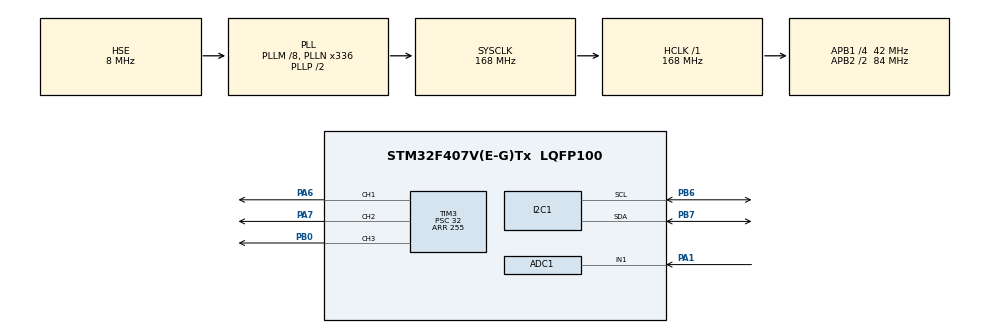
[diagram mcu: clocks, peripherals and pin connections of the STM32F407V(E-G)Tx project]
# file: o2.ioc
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ADC1.Channel-1\#ChannelRegularConversion=ADC_CHANNEL_1
ADC1.ClockPrescaler=ADC_CLOCK_SYNC_PCLK_DIV8
ADC1.ContinuousConvMode=ENABLE
ADC1.NbrOfConversionFlag=1
ADC1.Rank-1\#ChannelRegularConversion=1
ADC1.SamplingTime-1\#ChannelRegularConversion=ADC_SAMPLETIME_56CYCLES
ADC1.master=1
Mcu.Family=STM32F4
Mcu.Name=STM32F407V(E-G)Tx
Mcu.Package=LQFP100
NVIC.PriorityGroup=NVIC_PRIORITYGROUP_0
PA1.Signal=ADCx_IN1
PA6.Signal=S_TIM3_CH1
PA7.Signal=S_TIM3_CH2
PB0.Signal=S_TIM3_CH3
PB6.Mode=I2C
PB6.Signal=I2C1_SCL
PB7.Mode=I2C
PB7.Signal=I2C1_SDA
PH0-OSC_IN.Mode=HSE-External-Oscillator
PH0-OSC_IN.Signal=RCC_OSC_IN
PH1-OSC_OUT.Mode=HSE-External-Oscillator
PH1-OSC_OUT.Signal=RCC_OSC_OUT
ProjectManager.HeapSize=0x200
ProjectManager.StackSize=0x400
ProjectManager.TargetToolchain=MDK-ARM V5.32
RCC.48MHZClocksFreq_Value=48000000
RCC.AHBFreq_Value=168000000
RCC.APB1CLKDivider=RCC_HCLK_DIV4
RCC.APB1Freq_Value=42000000
RCC.APB1TimFreq_Value=84000000
RCC.APB2CLKDivider=RCC_HCLK_DIV2
RCC.APB2Freq_Value=84000000
RCC.APB2TimFreq_Value=168000000
RCC.CortexFreq_Value=168000000
RCC.HCLKFreq_Value=168000000
RCC.HSE_VALUE=8000000
RCC.HSI_VALUE=16000000
RCC.PLLM=8
RCC.PLLN=336
RCC.PLLQ=7
RCC.PLLSourceVirtual=RCC_PLLSOURCE_HSE
RCC.SYSCLKFreq_VALUE=168000000
RCC.SYSCLKSource=RCC_SYSCLKSOURCE_PLLCLK
RCC.VCOOutputFreq_Value=336000000
SH.ADCx_IN1.0=ADC1_IN1,IN1
SH.S_TIM3_CH1.0=TIM3_CH1,PWM Generation1 CH1
SH.S_TIM3_CH2.0=TIM3_CH2,PWM Generation2 CH2
SH.S_TIM3_CH3.0=TIM3_CH3,PWM Generation3 CH3
TIM3.Channel-PWM\ Generation1\ CH1=TIM_CHANNEL_1
TIM3.Channel-PWM\ Generation2\ CH2=TIM_CHANNEL_2
TIM3.Channel-PWM\ Generation3\ CH3=TIM_CHANNEL_3
TIM3.Period=255
TIM3.Prescaler=32
VP_TIM3_VS_ClockSourceINT.Mode=Internal
board=STM32F407G-DISC1

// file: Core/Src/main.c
/* USER CODE BEGIN Header */
/**
  ******************************************************************************
  * @file           : main.c
  * @brief          : Main program body
  ******************************************************************************
  * @attention
  *
  * Copyright (c) 2022 STMicroelectronics.
  * All rights reserved.
  *
  * This software is licensed under terms that can be found in the LICENSE file
  * in the root directory of this software component.
  * If no LICENSE file comes with this software, it is provided AS-IS.
  *
  ******************************************************************************
  */
/* USER CODE END Header */
#include "main.h"
#include "fonts.h"
#include "ssd1306.h"
#include <stdio.h>
#include <string.h>

int oku;

ADC_HandleTypeDef hadc1;

I2C_HandleTypeDef hi2c1;

TIM_HandleTypeDef htim3;

void SystemClock_Config(void);
static void MX_GPIO_Init(void);
static void MX_ADC1_Init(void);
static void MX_I2C1_Init(void);
static void MX_TIM3_Init(void);

int main(void)
{

  /* MCU Configuration--------------------------------------------------------*/

  /* Reset of all peripherals, Initializes the Flash interface and the Systick. */
  HAL_Init();

  /* Configure the system clock */
  SystemClock_Config();

  /* Initialize all configured peripherals */
  MX_GPIO_Init();
  MX_ADC1_Init();
  MX_I2C1_Init();
  MX_TIM3_Init();
  /* USER CODE BEGIN 2 */

ssd1306_Init();
HAL_Delay(100);

HAL_TIM_PWM_Start(&htim3,TIM_CHANNEL_1);
HAL_TIM_PWM_Start(&htim3,TIM_CHANNEL_2);
HAL_TIM_PWM_Start(&htim3,TIM_CHANNEL_3);

int i;
  /* USER CODE END 2 */
ssd1306_Fill(Black);
ssd1306_SetCursor(0,0);

ssd1306_WriteString("hos geldiniz",Font_7x10,White);
ssd1306_UpdateScreen();
HAL_Delay(2000);
  /* Infinite loop */
  /* USER CODE BEGIN WHILE */
  while (1)
  {
		HAL_ADC_Start(&hadc1);
		oku=HAL_ADC_GetValue(&hadc1);
		float a=0;
		a= oku;
		char yaz [4];
		sprintf (yaz, "adc degeri=% 4f", a);
		ssd1306_SetCursor(0,10);
    ssd1306_WriteString (yaz,Font_7x10,White);
    ssd1306_UpdateScreen();
		HAL_Delay(2000);
		if (oku>2048)
		{

		ssd1306_Fill(Black);
    ssd1306_SetCursor(0,0);
    ssd1306_WriteString("kapi aciktir",Font_7x10,White);
    ssd1306_UpdateScreen();
		TIM3->CCR1=0;
		TIM3->CCR3=0;

	   	for(i=0;i<=255;i++){
			TIM3->CCR2=i;
			HAL_Delay(10);
			}

		}

		else
		{

		ssd1306_Fill(Black);
    ssd1306_SetCursor(0,0);
    ssd1306_WriteString("kapi kapalidir",Font_7x10,White);
    ssd1306_UpdateScreen();
		TIM3->CCR1=255;
		TIM3->CCR2=0;
		TIM3->CCR3=0;

		}

    /* USER CODE END WHILE */

  }
}

void SystemClock_Config(void)
{
  RCC_OscInitTypeDef RCC_OscInitStruct = {0};
  RCC_ClkInitTypeDef RCC_ClkInitStruct = {0};

  /** Configure the main internal regulator output voltage
  */
  __HAL_RCC_PWR_CLK_ENABLE();
  __HAL_PWR_VOLTAGESCALING_CONFIG(PWR_REGULATOR_VOLTAGE_SCALE1);
  /** Initializes the RCC Oscillators according to the specified parameters
  * in the RCC_OscInitTypeDef structure.
  */
  RCC_OscInitStruct.OscillatorType = RCC_OSCILLATORTYPE_HSE;
  RCC_OscInitStruct.HSEState = RCC_HSE_ON;
  RCC_OscInitStruct.PLL.PLLState = RCC_PLL_ON;
  RCC_OscInitStruct.PLL.PLLSource = RCC_PLLSOURCE_HSE;
  RCC_OscInitStruct.PLL.PLLM = 8;
  RCC_OscInitStruct.PLL.PLLN = 336;
  RCC_OscInitStruct.PLL.PLLP = RCC_PLLP_DIV2;
  RCC_OscInitStruct.PLL.PLLQ = 7;
  if (HAL_RCC_OscConfig(&RCC_OscInitStruct) != HAL_OK)
  {
    Error_Handler();
  }
  /** Initializes the CPU, AHB and APB buses clocks
  */
  RCC_ClkInitStruct.ClockType = RCC_CLOCKTYPE_HCLK|RCC_CLOCKTYPE_SYSCLK
                              |RCC_CLOCKTYPE_PCLK1|RCC_CLOCKTYPE_PCLK2;
  RCC_ClkInitStruct.SYSCLKSource = RCC_SYSCLKSOURCE_PLLCLK;
  RCC_ClkInitStruct.AHBCLKDivider = RCC_SYSCLK_DIV1;
  RCC_ClkInitStruct.APB1CLKDivider = RCC_HCLK_DIV4;
  RCC_ClkInitStruct.APB2CLKDivider = RCC_HCLK_DIV2;

  if (HAL_RCC_ClockConfig(&RCC_ClkInitStruct, FLASH_LATENCY_5) != HAL_OK)
  {
    Error_Handler();
  }
}

static void MX_ADC1_Init(void)
{

  ADC_ChannelConfTypeDef sConfig = {0};

  /** Configure the global features of the ADC (Clock, Resolution, Data Alignment and number of conversion)
  */
  hadc1.Instance = ADC1;
  hadc1.Init.ClockPrescaler = ADC_CLOCK_SYNC_PCLK_DIV8;
  hadc1.Init.Resolution = ADC_RESOLUTION_12B;
  hadc1.Init.ScanConvMode = DISABLE;
  hadc1.Init.ContinuousConvMode = ENABLE;
  hadc1.Init.DiscontinuousConvMode = DISABLE;
  hadc1.Init.ExternalTrigConvEdge = ADC_EXTERNALTRIGCONVEDGE_NONE;
  hadc1.Init.ExternalTrigConv = ADC_SOFTWARE_START;
  hadc1.Init.DataAlign = ADC_DATAALIGN_RIGHT;
  hadc1.Init.NbrOfConversion = 1;
  hadc1.Init.DMAContinuousRequests = DISABLE;
  hadc1.Init.EOCSelection = ADC_EOC_SINGLE_CONV;
  if (HAL_ADC_Init(&hadc1) != HAL_OK)
  {
    Error_Handler();
  }
  /** Configure for the selected ADC regular channel its corresponding rank in the sequencer and its sample time.
  */
  sConfig.Channel = ADC_CHANNEL_1;
  sConfig.Rank = 1;
  sConfig.SamplingTime = ADC_SAMPLETIME_56CYCLES;
  if (HAL_ADC_ConfigChannel(&hadc1, &sConfig) != HAL_OK)
  {
    Error_Handler();
  }

}

static void MX_I2C1_Init(void)
{

  hi2c1.Instance = I2C1;
  hi2c1.Init.ClockSpeed = 100000;
  hi2c1.Init.DutyCycle = I2C_DUTYCYCLE_2;
  hi2c1.Init.OwnAddress1 = 0;
  hi2c1.Init.AddressingMode = I2C_ADDRESSINGMODE_7BIT;
  hi2c1.Init.DualAddressMode = I2C_DUALADDRESS_DISABLE;
  hi2c1.Init.OwnAddress2 = 0;
  hi2c1.Init.GeneralCallMode = I2C_GENERALCALL_DISABLE;
  hi2c1.Init.NoStretchMode = I2C_NOSTRETCH_DISABLE;
  if (HAL_I2C_Init(&hi2c1) != HAL_OK)
  {
    Error_Handler();
  }

}

static void MX_TIM3_Init(void)
{

  TIM_ClockConfigTypeDef sClockSourceConfig = {0};
  TIM_MasterConfigTypeDef sMasterConfig = {0};
  TIM_OC_InitTypeDef sConfigOC = {0};

  htim3.Instance = TIM3;
  htim3.Init.Prescaler = 32;
  htim3.Init.CounterMode = TIM_COUNTERMODE_UP;
  htim3.Init.Period = 255;
  htim3.Init.ClockDivision = TIM_CLOCKDIVISION_DIV1;
  htim3.Init.AutoReloadPreload = TIM_AUTORELOAD_PRELOAD_DISABLE;
  if (HAL_TIM_Base_Init(&htim3) != HAL_OK)
  {
    Error_Handler();
  }
  sClockSourceConfig.ClockSource = TIM_CLOCKSOURCE_INTERNAL;
  if (HAL_TIM_ConfigClockSource(&htim3, &sClockSourceConfig) != HAL_OK)
  {
    Error_Handler();
  }
  if (HAL_TIM_PWM_Init(&htim3) != HAL_OK)
  {
    Error_Handler();
  }
  sMasterConfig.MasterOutputTrigger = TIM_TRGO_RESET;
  sMasterConfig.MasterSlaveMode = TIM_MASTERSLAVEMODE_DISABLE;
  if (HAL_TIMEx_MasterConfigSynchronization(&htim3, &sMasterConfig) != HAL_OK)
  {
    Error_Handler();
  }
  sConfigOC.OCMode = TIM_OCMODE_PWM1;
  sConfigOC.Pulse = 0;
  sConfigOC.OCPolarity = TIM_OCPOLARITY_HIGH;
  sConfigOC.OCFastMode = TIM_OCFAST_DISABLE;
  if (HAL_TIM_PWM_ConfigChannel(&htim3, &sConfigOC, TIM_CHANNEL_1) != HAL_OK)
  {
    Error_Handler();
  }
  if (HAL_TIM_PWM_ConfigChannel(&htim3, &sConfigOC, TIM_CHANNEL_2) != HAL_OK)
  {
    Error_Handler();
  }
  if (HAL_TIM_PWM_ConfigChannel(&htim3, &sConfigOC, TIM_CHANNEL_3) != HAL_OK)
  {
    Error_Handler();
  }
  HAL_TIM_MspPostInit(&htim3);

}

static void MX_GPIO_Init(void)
{

  /* GPIO Ports Clock Enable */
  __HAL_RCC_GPIOH_CLK_ENABLE();
  __HAL_RCC_GPIOA_CLK_ENABLE();
  __HAL_RCC_GPIOB_CLK_ENABLE();

}

void Error_Handler(void)
{
  __disable_irq();
  while (1)
  {
  }
}
